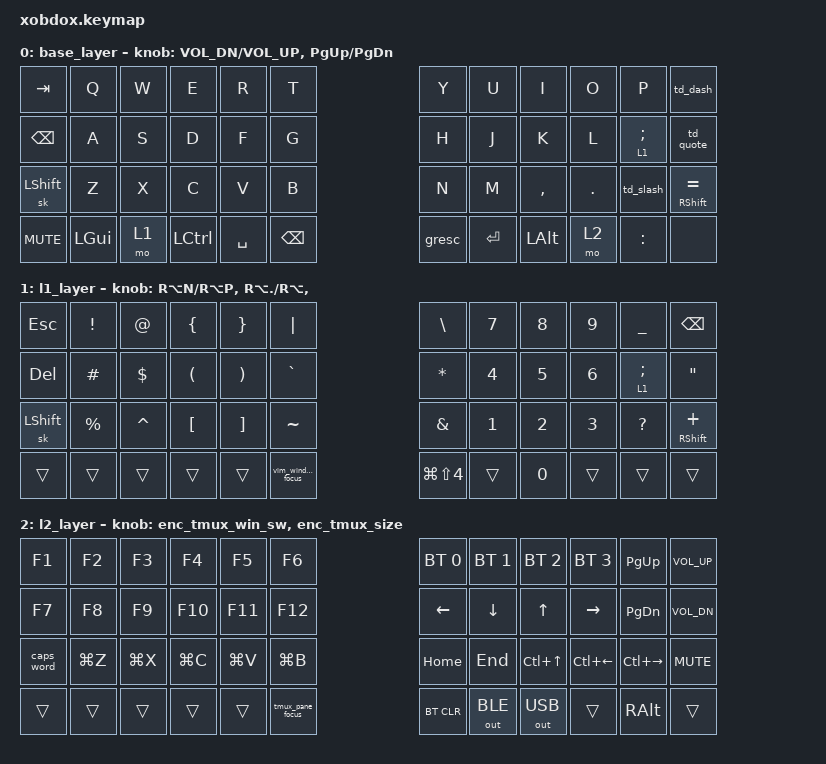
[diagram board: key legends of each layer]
/*
 * Copyright (c) 2022 Xiao Qin
 *
 * SPDX-License-Identifier: MIT
 */

#include <behaviors.dtsi>
#include <dt-bindings/zmk/bt.h>
#include <dt-bindings/zmk/keys.h>
#include <dt-bindings/zmk/outputs.h>

// Layers
#define BASE 0
#define L1   1
#define L2   2

&caps_word {
    continue-list = <UNDERSCORE MINUS LSHFT>;
};

/ {
    macros {
        ZMK_MACRO(vim_window_focus,
                wait-ms = <30>;
                tap-ms = <40>;
                bindings = <&kp LC(W) &kp LC(W)>;
        )
        ZMK_MACRO(vim_buffer_next,
                wait-ms = <30>;
                tap-ms = <40>;
                bindings = <&kp COLON &kp B &kp N &kp RET>;
        )
        ZMK_MACRO(vim_buffer_prev,
                wait-ms = <30>;
                tap-ms = <40>;
                bindings = <&kp COLON &kp B &kp P &kp RET>;
        )
        ZMK_MACRO(vim_split_inc,
                wait-ms = <30>;
                tap-ms = <40>;
                bindings = <&kp LC(W) &kp GT>;
        )
        ZMK_MACRO(vim_split_dec,
                wait-ms = <30>;
                tap-ms = <40>;
                bindings = <&kp LC(W) &kp LT>;
        )
        ZMK_MACRO(tmux_pane_focus,
                wait-ms = <30>;
                tap-ms = <40>;
                bindings = <&kp LC(B) &kp O>;
        )
        ZMK_MACRO(tmux_window_next,
                wait-ms = <30>;
                tap-ms = <40>;
                bindings = <&kp LC(B) &kp LC(L)>;
        )
        ZMK_MACRO(tmux_window_prev,
                wait-ms = <30>;
                tap-ms = <40>;
                bindings = <&kp LC(B) &kp LC(H)>;
        )
        ZMK_MACRO(tmux_pane_inc,
                wait-ms = <30>;
                tap-ms = <40>;
                bindings = <&kp LC(B) &kp LS(L)>;
        )
        ZMK_MACRO(tmux_pane_dec,
                wait-ms = <30>;
                tap-ms = <40>;
                bindings = <&kp LC(B) &kp LS(H)>;
        )

    };

    behaviors {
        td_dash: tap_dance_dash {
            compatible = "zmk,behavior-tap-dance";
            label = "TAP_DANCE_DASH";
            #binding-cells = <0>;
            tapping-term-ms = <150>;
            bindings = <&kp MINUS>, <&kp UNDER>;
        };
        td_quote: tap_dance_quote {
            compatible = "zmk,behavior-tap-dance";
            label = "TAP_DANCE_QUOTE";
            #binding-cells = <0>;
            tapping-term-ms = <150>;
            bindings = <&kp SQT>, <&kp DQT>;
        };
        td_slash: tap_dance_slash {
            compatible = "zmk,behavior-tap-dance";
            label = "TAP_DANCE_SLASH";
            #binding-cells = <0>;
            tapping-term-ms = <150>;
            bindings = <&kp FSLH>, <&kp QMARK>;
        };

        enc_vim_buf_sw: encoder_vim_buffer_switch {
            compatible = "zmk,behavior-sensor-rotate";
            label = "ENC_VIM_BUF";
            #sensor-binding-cells = <0>;
            bindings = <&vim_buffer_prev>, <&vim_buffer_next>;
        };

        enc_vim_size: encoder_vim_split_size_change {
            compatible = "zmk,behavior-sensor-rotate";
            label = "ENC_VIM_SIZE";
            #sensor-binding-cells = <0>;
            bindings = <&vim_split_dec>, <&vim_split_inc>;
        };

        enc_tmux_win_sw: encoder_tmux_window_switch {
            compatible = "zmk,behavior-sensor-rotate";
            label = "ENC_TMUX_WIN";
            #sensor-binding-cells = <0>;
            bindings = <&tmux_window_prev>, <&tmux_window_next>;
        };

        enc_tmux_size: encoder_tmux_pane_size_change {
            compatible = "zmk,behavior-sensor-rotate";
            label = "ENC_TMUX_SIZE";
            #sensor-binding-cells = <0>;
            bindings = <&tmux_pane_dec>, <&tmux_pane_inc>;
        };
    };

    keymap {
        compatible = "zmk,keymap";

        base_layer {
            // --------------------------------------------------------------------------------------------------
            // | TAB  |  Q  |  W  |  E  |  R  |  T  |                      |  Y  |  U  |  I  |  O  |  P  | -(_) |
            // | BKSP |  A  |  S  |  D  |  F  |  G  |                      |  H  |  J  |  K  |  L  |;/L1 | '(") |
            // | SHFT |  Z  |  X  |  C  |  V  |  B  |                      |  N  |  M  |  ,  |  .  | /(?)| =/+  |
            //
            //     (ec2-MUTE) | GUI | L1  | CTL | SPC | | BKSP |     | ESC | | RET | ALT | L2  | : | (ec2)
            // --------------------------------------------------------------------------------------------------
            bindings = <
                &kp TAB    &kp Q  &kp W  &kp E  &kp R  &kp T                      &kp Y  &kp U  &kp I     &kp O   &kp P       &td_dash
                &kp BSPC   &kp A  &kp S  &kp D  &kp F  &kp G                      &kp H  &kp J  &kp K     &kp L   &lt L1 SEMI &td_quote
                &sk LSHFT  &kp Z  &kp X  &kp C  &kp V  &kp B                      &kp N  &kp M  &kp COMMA &kp DOT &td_slash   &mt RSHIFT EQUAL
                    &kp K_MUTE &kp LGUI &mo L1 &kp LCTRL &kp SPACE &kp BSPC    &gresc &kp RET &kp LALT &mo L2 &kp COLON &none
                >;

            sensor-bindings = <&inc_dec_kp C_VOL_DN C_VOL_UP &inc_dec_kp PG_UP PG_DN>;
        };

        l1_layer {
            // --------------------------------------------------------------------------------------------------
            // | ESC  |  !  |  @  |  {  |  }  |  |  |                  |  \  |  7  |  8  |  9  | _  | BKSP |
            // | DEL  |  #  |  $  |  (  |  )  |  `  |                  |  *  | 4  |  5  |  6  |;/L1 |  "  |
            // | SHFT |  %  |  ^  |  [  |  ]  |  ~  |                  |  &  |  1  |  2  |  3  |  ?  | + |
            //
            //              | x | x | x | x | x | | vim_fcs |    | SCNCAP | | x | 0 | x | x | x |
            // --------------------------------------------------------------------------------------------------
            bindings = <
                &kp ESC    &kp EXCL &kp AT &kp LBRC  &kp RBRC  &kp PIPE               &kp BSLH  &kp N7  &kp N8  &kp N9  &kp UNDER &kp BSPC
                &kp DEL    &kp HASH &kp DLLR &kp LPAR  &kp RPAR  &kp GRAVE            &kp STAR  &kp N4  &kp N5  &kp N6  &lt L1 SEMI &kp DQT
                &sk LSHFT  &kp PRCNT &kp CARET &kp LBKT  &kp RBKT  &kp TILDE          &kp AMPS  &kp N1  &kp N2  &kp N3  &kp QMARK &mt RSHIFT PLUS
                           &trans &trans &trans &trans &trans &vim_window_focus   &kp LG(LS(N4)) &trans &kp N0 &trans &trans &trans
                >;

            // vim buffer switch, vim split size change
            sensor-bindings = <&inc_dec_kp RA(N) RA(P) &inc_dec_kp RA(DOT) RA(COMMA)>;
            // sensor-bindings = <&enc_vim_buf_sw &enc_vim_size>;
        };

        l2_layer {
            // --------------------------------------------------------------------------------------------------
            // | F1 | F2 | F3 |  F4 | F5 | F6 |                                 | bt1 | bt2 | bt3 | bt4 | PageUp | VolUp |
            // | F7 | F8 | F9 | F10 | F11 | F12 |                               | <- | DOWN | UP  | -> | PageDown | VolDown |
            // | CAPS_WORD | c-z | c-x | c-c  | c-v | c-b  |                    | HOME | END | MISSION | DESK<- | DESK-> | MUTE |
            //
            //             | x | x | x | x | x | | tmux_fcs |            |bt_clear| | OUT_BLE | | OUT_USB | x | RALT |  x  |
            // --------------------------------------------------------------------------------------------------

            bindings = <
                &kp F1 &kp F2 &kp F3 &kp F4 &kp F5 &kp F6                             &bt BT_SEL 0 &bt BT_SEL 1 &bt BT_SEL 2 &bt BT_SEL 3 &kp PG_UP &kp C_VOL_UP
                &kp F7 &kp F8 &kp F9 &kp F10 &kp F11 &kp F12                          &kp LEFT &kp DOWN &kp UP &kp RIGHT &kp PG_DN &kp C_VOL_DN
                &caps_word &kp LG(Z) &kp LG(X) &kp LG(C) &kp LG(V) &kp LG(B)          &kp HOME &kp END &kp LC(UP) &kp LC(LEFT) &kp LC(RIGHT) &kp K_MUTE
                            &trans &trans &trans &trans &trans &tmux_pane_focus    &bt BT_CLR &out OUT_BLE &out OUT_USB &trans &kp RALT &trans
                >;

            // tmux window switch, tmux winows size
            // sensor-bindings = <&inc_dec_kp LC(H) LC(L) &inc_dec_kp LS(L) LS(H)>;
            sensor-bindings = <&enc_tmux_win_sw &enc_tmux_size>;
        };
    };
};
